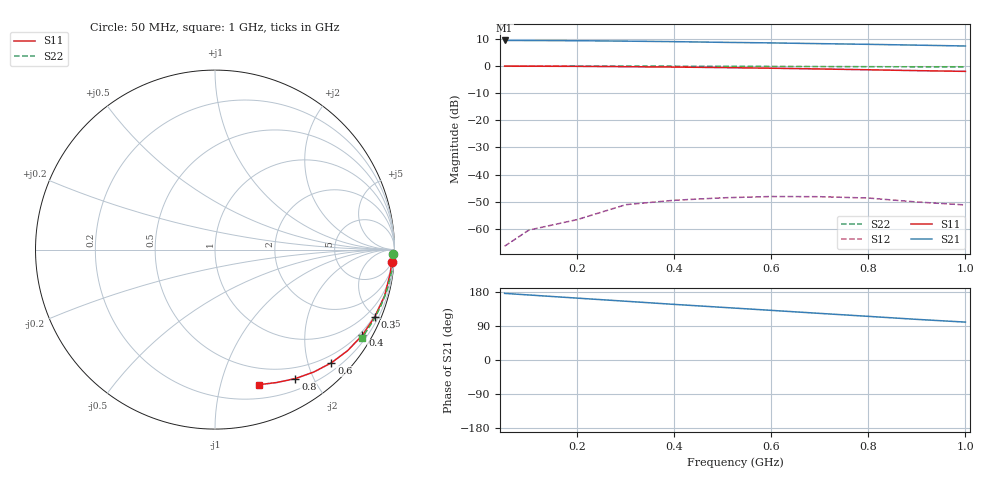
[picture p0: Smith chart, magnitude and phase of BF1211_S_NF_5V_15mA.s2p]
! Philips part #: BF1211
! Bias: VDS=5.000V; ID=15.13mA; VG1S-start=0V; VG2S=4V;
! Company: Philips Semiconductors NL
! User: Q&R DSC-N
! Measure time:  4 Nov 2002 / 13:58:54
#  MHz  S  MA  R 50
! Freq  S11  S21  S12  S22  :
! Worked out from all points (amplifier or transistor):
!   11 points, 50 MHz to 1 GHz, reference 50 ohm
!   highest |S21| = 9.3 dB at 50 MHz (marker M1)
!   |S21| within 3 dB of that: start of sweep to end of sweep
!   unconditionally stable (mu >= 1): 779.5 MHz to end of sweep
!   at 100 MHz: K = 0.10, MSG = 34.9 dB, |S12| = -60.5 dB
!   at 500 MHz: K = 0.38, MSG = 28.6 dB, |S12| = -48.6 dB
!   at 1 GHz: K = 2.29, MAG = 22.9 dB, |S12| = -51.2 dB
!   lowest NFmin = 0.90 dB at 400 MHz
!   S11 on the Smith chart (normalised r, x): 50 MHz: 5, -29; 300 MHz: 0.44, -4.92; 400 MHz: 0.38, -3.68; 600 MHz: 0.35, -2.42; 800 MHz: 0.34, -1.75; 1 GHz: 0.33, -1.32
50  0.9872 -3.9  2.933 175.8  0.00048 90.8  0.9934 -1.6
100  0.9853 -7.7  2.926 171.6  0.000949 86.3  0.993 -3.1
200  0.9793 -15.2  2.902 163.2  0.001482 91.5  0.9929 -6.3
300  0.9657 -22.8  2.85 155.0  0.002789 77.3  0.9883 -9.4
400  0.9495 -30.1  2.789 146.7  0.003359 73.9  0.985 -12.5
500  0.9293 -37.2  2.708 138.9  0.003729 71.4  0.9806 -15.5
600  0.9046 -44.2  2.644 131.0  0.003937 69.6  0.976 -18.6
700  0.8765 -51.1  2.562 123.0  0.003908 69.1  0.9706 -21.6
800  0.8466 -58.1  2.49 115.2  0.00369 70.0  0.9653 -24.7
900  0.8166 -65.1  2.405 107.2  0.003121 74.8  0.9595 -27.8
1000  0.791 -72.1  2.318 100.0  0.002757 87.5  0.9554 -30.9
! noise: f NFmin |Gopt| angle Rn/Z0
400  0.9  0.693  16.75  29.85
800  1.3  0.707  37.33  29.9
